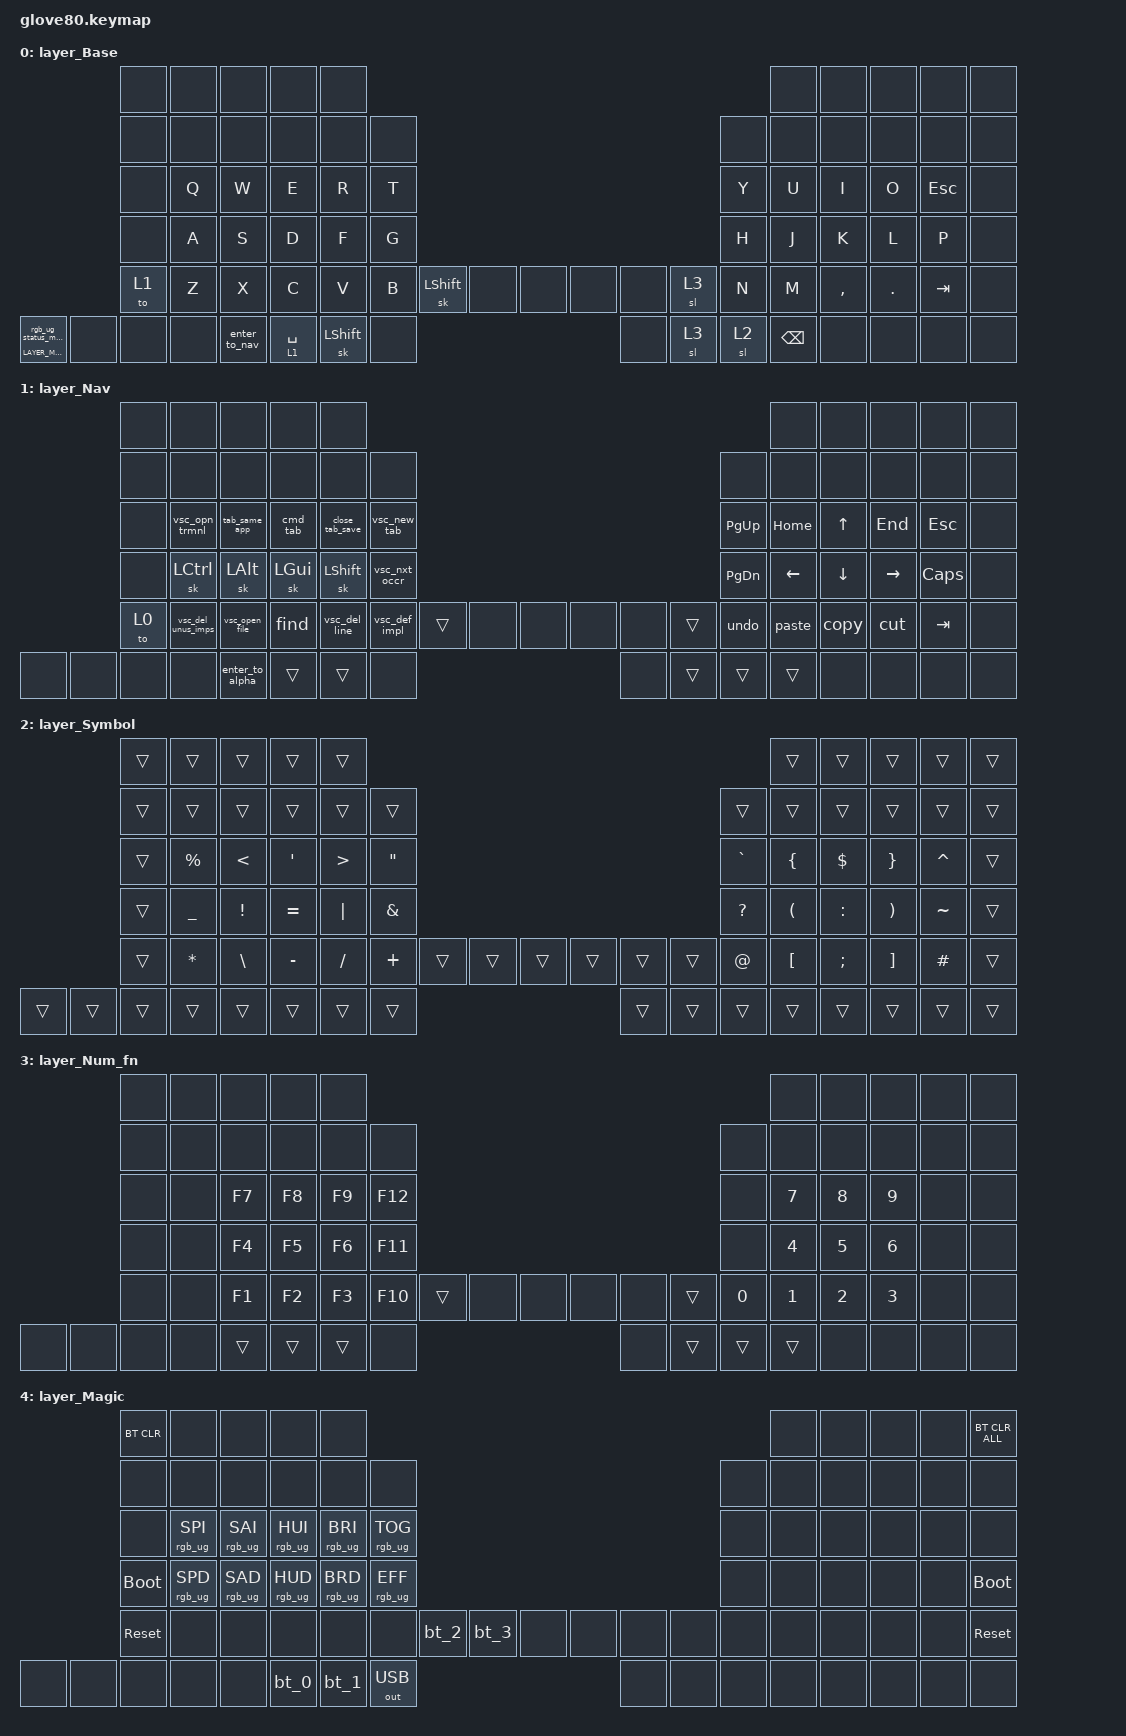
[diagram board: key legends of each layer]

/*
 * Copyright (c) 2020 The ZMK Contributors
 * Copyright (c) 2023 Innaworks Development Limited, trading as MoErgo
 *
 * SPDX-License-Identifier: MIT
 */


/* THIS FILE WAS GENERATED BY GLOVE80 LAYOUT EDITOR
 *
 * This file was generated automatically. You may or may not want to
 * edit it directly.
 */

#include <behaviors.dtsi>
/* Include all behaviour includes needed */
#include <dt-bindings/zmk/outputs.h>
#include <dt-bindings/zmk/keys.h>
#include <dt-bindings/zmk/bt.h>
#include <dt-bindings/zmk/rgb.h>

/* Automatically generated layer name #define */
#define LAYER_Base 0
#define LAYER_Nav 1
#define LAYER_Symbol 2
#define LAYER_Num_fn 3
#define LAYER_Magic 4

/* To deal with the situation where there is no Lower layer, to keep &lower happy */
#ifndef LAYER_Lower
#define LAYER_Lower 0
#endif

/* Custom Device-tree */
&sk {
    release-after-ms = <2000>;
    quick-release;
};

&lt {
  flavor = "balanced";
};


/* Glove80 system behavior & macros */
/ {
    behaviors {
        // For the "layer" key, it'd nice to be able to use it as either a shift or a toggle.
        // Configure it as a tap dance, so the first tap (or hold) is a &mo and the second tap is a &to
        lower: lower {
            compatible = "zmk,behavior-tap-dance";
            label = "LAYER_TAP_DANCE";
            #binding-cells = <0>;
            tapping-term-ms = <200>;
            bindings = <&mo LAYER_Lower>, <&to LAYER_Lower>;
        };
    };
};

/ {
    macros {
        rgb_ug_status_macro: rgb_ug_status_macro {
            label = "RGB_UG_STATUS";
            compatible = "zmk,behavior-macro";
            #binding-cells = <0>;
            bindings
                = <&rgb_ug RGB_STATUS>;
        };
    };
};


/ {
#ifdef BT_DISC_CMD
    behaviors {
        bt_0: bt_0 {
            compatible = "zmk,behavior-tap-dance";
            label = "BT_0";
            #binding-cells = <0>;
            tapping-term-ms = <200>;
            bindings = <&bt_select_0>, <&bt BT_DISC 0>;
        };
        bt_1: bt_1 {
            compatible = "zmk,behavior-tap-dance";
            label = "BT_1";
            #binding-cells = <0>;
            tapping-term-ms = <200>;
            bindings = <&bt_select_1>, <&bt BT_DISC 1>;
        };
        bt_2: bt_2 {
            compatible = "zmk,behavior-tap-dance";
            label = "BT_2";
            #binding-cells = <0>;
            tapping-term-ms = <200>;
            bindings = <&bt_select_2>, <&bt BT_DISC 2>;
        };
        bt_3: bt_3 {
            compatible = "zmk,behavior-tap-dance";
            label = "BT_3";
            #binding-cells = <0>;
            tapping-term-ms = <200>;
            bindings = <&bt_select_3>, <&bt BT_DISC 3>;
        };
    };
    macros {
        bt_select_0: bt_select_0 {
            label = "BT_SELECT_0";
            compatible = "zmk,behavior-macro";
            #binding-cells = <0>;
            bindings
                = <&out OUT_BLE>,
                  <&bt BT_SEL 0>;
        };
        bt_select_1: bt_select_1 {
            label = "BT_SELECT_1";
            compatible = "zmk,behavior-macro";
            #binding-cells = <0>;
            bindings
                = <&out OUT_BLE>,
                  <&bt BT_SEL 1>;
        };
        bt_select_2: bt_select_2 {
            label = "BT_SELECT_2";
            compatible = "zmk,behavior-macro";
            #binding-cells = <0>;
            bindings
                = <&out OUT_BLE>,
                  <&bt BT_SEL 2>;
        };
        bt_select_3: bt_select_3 {
            label = "BT_SELECT_3";
            compatible = "zmk,behavior-macro";
            #binding-cells = <0>;
            bindings
                = <&out OUT_BLE>,
                  <&bt BT_SEL 3>;
        };
    };
#else
    macros {
        bt_0: bt_0 {
            label = "BT_0";
            compatible = "zmk,behavior-macro";
            #binding-cells = <0>;
            bindings
                = <&out OUT_BLE>,
                  <&bt BT_SEL 0>;
        };
        bt_1: bt_1 {
            label = "BT_1";
            compatible = "zmk,behavior-macro";
            #binding-cells = <0>;
            bindings
                = <&out OUT_BLE>,
                  <&bt BT_SEL 1>;
        };
        bt_2: bt_2 {
            label = "BT_2";
            compatible = "zmk,behavior-macro";
            #binding-cells = <0>;
            bindings
                = <&out OUT_BLE>,
                  <&bt BT_SEL 2>;
        };
        bt_3: bt_3 {
            label = "BT_3";
            compatible = "zmk,behavior-macro";
            #binding-cells = <0>;
            bindings
                = <&out OUT_BLE>,
                  <&bt BT_SEL 3>;
        };
    };
#endif
};

/ {
    behaviors {
        magic: magic {
            compatible = "zmk,behavior-hold-tap";
            label = "MAGIC_HOLD_TAP";
            #binding-cells = <2>;
            flavor = "tap-preferred";
            tapping-term-ms = <200>;
            bindings = <&mo>, <&rgb_ug_status_macro>;
        };
    };
};

/* #define for key positions */
#define POS_LH_T1 52
#define POS_LH_T2 53
#define POS_LH_T3 54
#define POS_LH_T4 69
#define POS_LH_T5 70
#define POS_LH_T6 71
#define POS_LH_C1R2 15
#define POS_LH_C1R3 27
#define POS_LH_C1R4 39
#define POS_LH_C1R5 51
#define POS_LH_C2R1 4
#define POS_LH_C2R2 14
#define POS_LH_C2R3 26
#define POS_LH_C2R4 38
#define POS_LH_C2R5 50
#define POS_LH_C2R6 68
#define POS_LH_C3R1 3
#define POS_LH_C3R2 13
#define POS_LH_C3R3 25
#define POS_LH_C3R4 37
#define POS_LH_C3R5 49
#define POS_LH_C3R6 67
#define POS_LH_C4R1 2
#define POS_LH_C4R2 12
#define POS_LH_C4R3 24
#define POS_LH_C4R4 36
#define POS_LH_C4R5 48
#define POS_LH_C4R6 66
#define POS_LH_C5R1 1
#define POS_LH_C5R2 11
#define POS_LH_C5R3 23
#define POS_LH_C5R4 35
#define POS_LH_C5R5 47
#define POS_LH_C5R6 65
#define POS_LH_C6R1 0
#define POS_LH_C6R2 10
#define POS_LH_C6R3 22
#define POS_LH_C6R4 34
#define POS_LH_C6R5 46
#define POS_LH_C6R6 64
#define POS_RH_T1 57
#define POS_RH_T2 56
#define POS_RH_T3 55
#define POS_RH_T4 74
#define POS_RH_T5 73
#define POS_RH_T6 72
#define POS_RH_C1R2 16
#define POS_RH_C1R3 28
#define POS_RH_C1R4 40
#define POS_RH_C1R5 58
#define POS_RH_C2R1 5
#define POS_RH_C2R2 17
#define POS_RH_C2R3 29
#define POS_RH_C2R4 41
#define POS_RH_C2R5 59
#define POS_RH_C2R6 75
#define POS_RH_C3R1 6
#define POS_RH_C3R2 18
#define POS_RH_C3R3 30
#define POS_RH_C3R4 42
#define POS_RH_C3R5 60
#define POS_RH_C3R6 76
#define POS_RH_C4R1 7
#define POS_RH_C4R2 19
#define POS_RH_C4R3 31
#define POS_RH_C4R4 43
#define POS_RH_C4R5 61
#define POS_RH_C4R6 77
#define POS_RH_C5R1 8
#define POS_RH_C5R2 20
#define POS_RH_C5R3 32
#define POS_RH_C5R4 44
#define POS_RH_C5R5 62
#define POS_RH_C5R6 78
#define POS_RH_C6R1 9
#define POS_RH_C6R2 21
#define POS_RH_C6R3 33
#define POS_RH_C6R4 45
#define POS_RH_C6R5 63
#define POS_RH_C6R6 79

/* Custom Defined Behaviors */
/ {
    macros {
  copy: copy {
      label = "copy";
      compatible = "zmk,behavior-macro";
      #binding-cells = <0>;
      bindings
          = <&macro_press &kp LGUI>
          , <&macro_tap &kp C>
          , <&macro_release &kp LGUI>
          ;
  };

  cut: cut {
      label = "cut";
      compatible = "zmk,behavior-macro";
      #binding-cells = <0>;
      bindings
          = <&macro_press &kp LGUI>
          , <&macro_tap &kp X>
          , <&macro_release &kp LGUI>
          ;
  };

  paste: paste {
      label = "paste";
      compatible = "zmk,behavior-macro";
      #binding-cells = <0>;
      bindings
          = <&macro_press &kp LGUI>
          , <&macro_tap &kp V>
          , <&macro_release &kp LGUI>
          ;
  };

  undo: undo {
      label = "undo";
      compatible = "zmk,behavior-macro";
      #binding-cells = <0>;
      bindings
          = <&macro_press &kp LGUI>
          , <&macro_tap &kp Z>
          , <&macro_release &kp LGUI>
          ;
  };

  cmd_tab: cmd_tab {
    label = "cmd_tab";
    compatible = "zmk,behavior-macro";
    #binding-cells = <0>;
    bindings
        = <&macro_press &kp LGUI>
        , <&macro_tap &kp TAB>
        , <&macro_tap &skq LGUI>
        , <&macro_release &kp LGUI>
        ;
  };

  tab_same_app: tab_same_app {
    label = "tab_same_app";
    compatible = "zmk,behavior-macro";
    #binding-cells = <0>;
    bindings
        = <&macro_press &kp LGUI>
        , <&macro_tap &kp GRAVE>
        , <&macro_tap &skq LGUI>
        , <&macro_release &kp LGUI>
        ;
  };

  find: find {
    label = "find";
    compatible = "zmk,behavior-macro";
    #binding-cells = <0>;
    bindings
        = <&macro_press &kp LGUI>
        , <&macro_tap &kp F>
        , <&macro_release &kp LGUI>
        ;
  };

  vsc_open_file: vsc_open_file {
    label = "vsc_open_file";
    compatible = "zmk,behavior-macro";
    #binding-cells = <0>;
    bindings
        = <&macro_press &kp LGUI>
        , <&macro_tap &kp P>
        , <&macro_release &kp LGUI>
        ;
  };

  vsc_new_tab: vsc_new_tab {
    label = "vsc_new_tab";
    compatible = "zmk,behavior-macro";
    #binding-cells = <0>;
    bindings
        = <&macro_press &kp LGUI>
        , <&macro_tap &kp N>
        , <&macro_release &kp LGUI>
        ;
  };

  vsc_nxt_occr: vsc_nxt_occr {
    label = "vsc_nxt_occr";
    compatible = "zmk,behavior-macro";
    #binding-cells = <0>;
    bindings
        = <&macro_press &kp LGUI>
        , <&macro_tap &kp D>
        , <&macro_release &kp LGUI>
        ;
  };

  vsc_del_line: vsc_del_line {
    label = "vsc_del_line";
    compatible = "zmk,behavior-macro";
    #binding-cells = <0>;
    bindings
        = <&macro_press &kp LGUI>
        , <&macro_press &kp LSHFT>
        , <&macro_tap &kp K>
        , <&macro_release &kp LSHFT>
        , <&macro_release &kp LGUI>
        ;
  };

  vsc_opn_trmnl: vsc_opn_trmnl {
    label = "vsc_opn_trmnl";
    compatible = "zmk,behavior-macro";
    #binding-cells = <0>;
    bindings
        = <&macro_press &kp LCTRL>
        , <&macro_tap &kp GRAVE>
        , <&macro_release &kp LCTRL>
        ;
  };

  vsc_del_unus_imps:  vsc_del_unus_imps {
    label = "vsc_del_unus_imps";
    compatible = "zmk,behavior-macro";
    #binding-cells = <0>;
    bindings
        = <&macro_press &kp LALT>
        , <&macro_press &kp LGUI>
        , <&macro_tap &kp I>
        , <&macro_release &kp LALT>
        , <&macro_release &kp LGUI>
        , <&macro_press &kp LGUI>
        , <&macro_tap &kp K>
        , <&macro_release &kp LGUI>
        ;
  };
};

behaviors {
  skq: sticky_key_quick_release {
    compatible = "zmk,behavior-sticky-key";
    #binding-cells = <1>;
    bindings = <&kp>;
    release-after-ms = <700>;
    quick-release;
    ignore-modifiers;
  };

  vsc_def_impl: vsc_def_impl {
    compatible = "zmk,behavior-mod-morph";
    #binding-cells = <0>;
    bindings = <&kp LG(LA(BACKSLASH))>, <&kp LS(F12)>;
    mods = <(MOD_LSFT|MOD_RSFT)>;
  };

  close_tab_save: close_tab_save {
    compatible = "zmk,behavior-mod-morph";
    #binding-cells = <0>;
    bindings = <&kp LG(W)>, <&kp LG(S)>;
    mods = <(MOD_LSFT|MOD_RSFT)>;
  };

  enter_to_nav: enter_to_nav {
    compatible = "zmk,behavior-mod-morph";
    #binding-cells = <0>;
    bindings = <&kp ENTER>, <&to 1>;
    mods = <(MOD_LSFT|MOD_RSFT)>;
  };

  enter_to_alpha: enter_to_alpha {
    compatible = "zmk,behavior-mod-morph";
    #binding-cells = <0>;
    bindings = <&kp ENTER>, <&to 0>;
    mods = <(MOD_LSFT|MOD_RSFT)>;
  };
};
};

/* Automatically generated macro definitions */
/ {
    macros {
        sel_next_vscode: sel_next_vscode {
            label = "&SEL_NEXT_VSCODE";
            compatible = "zmk,behavior-macro";
            #binding-cells = <0>;


            bindings
                = <&kt LGUI>
                , <&kp D>
                , <&kt LGUI>;
        };
    };
};

/* Automatically generated keymap */
/ {
    keymap {
        compatible = "zmk,keymap";


        layer_Base {
            bindings = <
                &none   &none   &none   &none          &none                                                                             &none      &none    &none    &none   &none
                &none   &none   &none   &none          &none   &none                                                           &none     &none      &none    &none    &none   &none
                &none   &kp Q   &kp W   &kp E          &kp R   &kp T                                                           &kp Y     &kp U      &kp I    &kp O  &kp ESC   &none
                &none   &kp A   &kp S   &kp D          &kp F   &kp G                                                           &kp H     &kp J      &kp K    &kp L    &kp P   &none
                &to 1   &kp Z   &kp X   &kp C          &kp V   &kp B    &sk LSHFT      &none   &none   &none   &none   &sl 3   &kp N     &kp M  &kp COMMA  &kp DOT  &kp TAB   &none
 &magic LAYER_Magic 0   &none   &none   &none  &enter_to_nav          &lt 1 SPACE  &sk LSHFT   &none   &none   &sl 3   &sl 2          &kp BSPC      &none    &none    &none   &none
            >;
        };

        layer_Nav {
            bindings = <
  &none               &none           &none     &none            &none                                                                               &none     &none      &none     &none   &none
  &none               &none           &none     &none            &none          &none                                                      &none     &none     &none      &none     &none   &none
  &none      &vsc_opn_trmnl   &tab_same_app  &cmd_tab  &close_tab_save   &vsc_new_tab                                                  &kp PG_UP  &kp HOME    &kp UP    &kp END   &kp ESC   &none
  &none           &sk LCTRL        &sk LALT  &sk LGUI        &sk LSHFT  &vsc_nxt_occr                                                  &kp PG_DN  &kp LEFT  &kp DOWN  &kp RIGHT  &kp CAPS   &none
  &to 0  &vsc_del_unus_imps  &vsc_open_file     &find    &vsc_del_line  &vsc_def_impl  &trans   &none   &none   &none   &none  &trans      &undo    &paste     &copy       &cut   &kp TAB   &none
  &none               &none           &none     &none  &enter_to_alpha                 &trans  &trans   &none   &none  &trans  &trans               &trans     &none      &none     &none   &none
            >;
        };

        layer_Symbol {
            bindings = <
 &trans     &trans    &trans     &trans    &trans                                                                         &trans     &trans    &trans     &trans  &trans
 &trans     &trans    &trans     &trans    &trans    &trans                                                     &trans    &trans     &trans    &trans     &trans  &trans
 &trans  &kp PRCNT    &kp LT    &kp SQT    &kp GT   &kp DQT                                                  &kp GRAVE  &kp LBRC   &kp DLLR  &kp RBRC  &kp CARET  &trans
 &trans  &kp UNDER  &kp EXCL  &kp EQUAL  &kp PIPE  &kp AMPS                                                  &kp QMARK  &kp LPAR  &kp COLON  &kp RPAR  &kp TILDE  &trans
 &trans   &kp STAR  &kp BSLH  &kp MINUS  &kp FSLH  &kp PLUS  &trans  &trans  &trans  &trans  &trans  &trans     &kp AT  &kp LBKT   &kp SEMI  &kp RBKT   &kp HASH  &trans
 &trans     &trans    &trans     &trans    &trans            &trans  &trans  &trans  &trans  &trans  &trans               &trans     &trans    &trans     &trans  &trans
            >;
        };

        layer_Num_fn {
            bindings = <
  &none   &none   &none   &none   &none                                                                    &none   &none   &none   &none   &none
  &none   &none   &none   &none   &none    &none                                                   &none   &none   &none   &none   &none   &none
  &none   &none  &kp F7  &kp F8  &kp F9  &kp F12                                                   &none  &kp N7  &kp N8  &kp N9   &none   &none
  &none   &none  &kp F4  &kp F5  &kp F6  &kp F11                                                   &none  &kp N4  &kp N5  &kp N6   &none   &none
  &none   &none  &kp F1  &kp F2  &kp F3  &kp F10  &trans   &none   &none   &none   &none  &trans  &kp N0  &kp N1  &kp N2  &kp N3   &none   &none
  &none   &none   &none   &none  &trans           &trans  &trans   &none   &none  &trans  &trans          &trans   &none   &none   &none   &none
            >;
        };

        layer_Magic {
            bindings = <
  &bt BT_CLR            &none            &none            &none            &none                                                                                  &none   &none   &none   &none  &bt BT_CLR_ALL
       &none            &none            &none            &none            &none            &none                                                         &none   &none   &none   &none   &none           &none
       &none  &rgb_ug RGB_SPI  &rgb_ug RGB_SAI  &rgb_ug RGB_HUI  &rgb_ug RGB_BRI  &rgb_ug RGB_TOG                                                         &none   &none   &none   &none   &none           &none
 &bootloader  &rgb_ug RGB_SPD  &rgb_ug RGB_SAD  &rgb_ug RGB_HUD  &rgb_ug RGB_BRD  &rgb_ug RGB_EFF                                                         &none   &none   &none   &none   &none     &bootloader
  &sys_reset            &none            &none            &none            &none            &none   &bt_2   &bt_3         &none   &none   &none   &none   &none   &none   &none   &none   &none      &sys_reset
       &none            &none            &none            &none            &none                    &bt_0   &bt_1  &out OUT_USB   &none   &none   &none           &none   &none   &none   &none           &none
            >;
        };

    };
};
